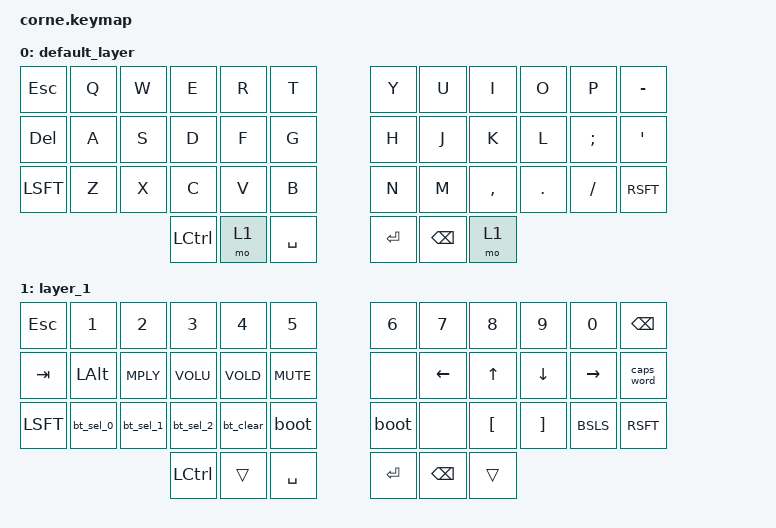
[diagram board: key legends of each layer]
#include <dt-bindings/zmk/bt.h>
#include <dt-bindings/zmk/keys.h>
#include <behavoirs.dtsi>

/ {
  behaviors {
    bt_sel_0: bt_sel_0 {
      compatible = "zmk,behavior-bluetooth-select";
      label = "BT 0";
      bt_index = <0>;
    };
    bt_sel_1: bt_sel_1 {
      compatible = "zmk,behavior-bluetooth-select";
      label = "BT 1";
      bt_index = <1>;
    };
    bt_sel_2: bt_sel_2 {
      compatible = "zmk,behavior-bluetooth-select";
      label = "BT 2";
      bt_index = <2>;
    };
    bt_sel_3: bt_sel_3 {
      compatible = "zmk,behavior-bluetooth-select";
      label = "BT 3";
      bt_index = <3>;
    };
    bt_clear: bt_clear {
      compatible = "zmk,behavior-bluetooth-clear-bonds";
      label = "BT CLR";
    };
  };
};


/ {
  keymap {
    compatible = "zmk,keymap";

    default_layer {
      bindings = <
        &kp ESC     &kp Q     &kp W     &kp E     &kp R     &kp T     &kp Y     &kp U     &kp I     &kp O     &kp P     &kp MINUS
        &kp DEL     &kp A     &kp S     &kp D     &kp F     &kp G     &kp H     &kp J     &kp K     &kp L     &kp SCLN  &kp QUOT
        &kp LSFT    &kp Z     &kp X     &kp C     &kp V     &kp B     &kp N     &kp M     &kp COMMA &kp DOT   &kp SLASH &kp RSFT
        &kp LCTL    &mo 1     &kp SPC   &kp ENTER &kp BSPC  &mo 1
      >;
    };

    layer_1 {
      bindings = <
        &kp ESC     &kp 1     &kp 2     &kp 3     &kp 4     &kp 5     &kp 6     &kp 7     &kp 8     &kp 9     &kp 0     &kp BSPC
        &kp TAB     &kp LALT  &kp MPLY  &kp VOLU  &kp VOLD  &kp MUTE  &none     &kp LEFT  &kp UP    &kp DOWN  &kp RIGHT &caps_word
        &kp LSFT    &bt_sel_0 &bt_sel_1 &bt_sel_2 &bt_clear &boot     &boot     &none     &kp LBKT  &kp RBKT  &kp BSLS  &kp RSFT
        &kp LCTL    &trans    &kp SPC   &kp ENTER &kp BSPC  &trans
      >;
    };
  };
};
